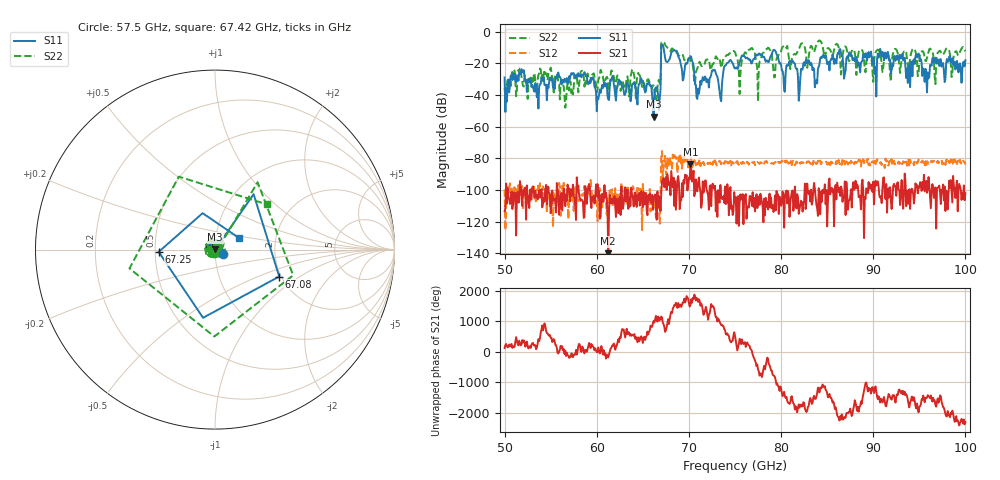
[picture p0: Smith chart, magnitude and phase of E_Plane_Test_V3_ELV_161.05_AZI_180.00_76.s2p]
! 11/26/2026 4:50:40 PM
! C:\ANRITSUVNA\TEMP\TEMP.S2P
! CHANNEL.1
! TR.MEASUREMENT
! RAW.DATA
# HZ S RI R 50.0
! FREQ.HZ  S11RE  S11IM  S21RE  S21IM  S12RE  S12IM  S22RE  S22IM
!; PortSelection: Port_12
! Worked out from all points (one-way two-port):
!   601 points, 50 GHz to 100 GHz, reference 50 ohm
!   highest |S21| = -83.86 dB at 70.17 GHz (marker M1); lowest = -140.0 dB at 61.25 GHz (marker M2)
!   lowest |S11| = -53.8 dB at 66.17 GHz (marker M3), VSWR 1.00, Z = 50.1 + j0.151 ohm
!   |S11| at or under -10 dB: start of sweep to 67 GHz; 67.25 GHz to end of sweep
!   |S22| runs from -48.1 to -5.6 dB; largest |S21 - S12| = 0.00015
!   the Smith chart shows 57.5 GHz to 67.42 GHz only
!   S11 on the Smith chart (normalised r, x): 57.5 GHz: 1.09, -0.05; 67.08 GHz: 1.95, -0.69; 67.25 GHz: 0.52, -0.01; 67.42 GHz: 1.29, +0.17
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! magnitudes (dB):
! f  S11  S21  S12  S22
! 50 GHz  -28.9  -113.5  -99.8  -35.7
! 51.67 GHz  -26.3  -94.5  -98.3  -23.2
! 53.42 GHz  -34.7  -104.1  -108.4  -35.2
! 57.5 GHz  -26.1  -104.1  -113.3  -34.6
! 58.42 GHz  -27.1  -106.5  -103.1  -24.7
! 61.25 GHz  -42.8  -140.0  -104.6  -33.6
! 66.17 GHz  -53.8  -104.7  -106.3  -34.0
! 66.67 GHz  -41.5  -111.2  -104.1  -31.6
! 67.08 GHz  -8.2  -94.9  -75.5  -6.8
! 67.25 GHz  -10.1  -92.7  -83.7  -6.2
! 67.42 GHz  -16.6  -93.6  -78.5  -8.3
! 70.17 GHz  -15.5  -83.9  -82.9  -18.5
! 70.92 GHz  -42.6  -101.0  -83.8  -23.1
! 75 GHz  -23.3  -107.9  -82.6  -13.0
! 79.25 GHz  -11.5  -113.0  -83.1  -29.0
! 80.25 GHz  -27.7  -106.1  -82.7  -9.3
! 83.42 GHz  -24.4  -107.3  -84.1  -10.8
! 91.67 GHz  -16.6  -104.9  -84.5  -15.2
! 93.75 GHz  -32.4  -106.0  -82.3  -21.3
! 94.83 GHz  -15.1  -102.2  -82.6  -28.2
! 95.83 GHz  -38.4  -101.9  -81.9  -16.6
! 100 GHz  -18.1  -102.2  -84.0  -12.5
